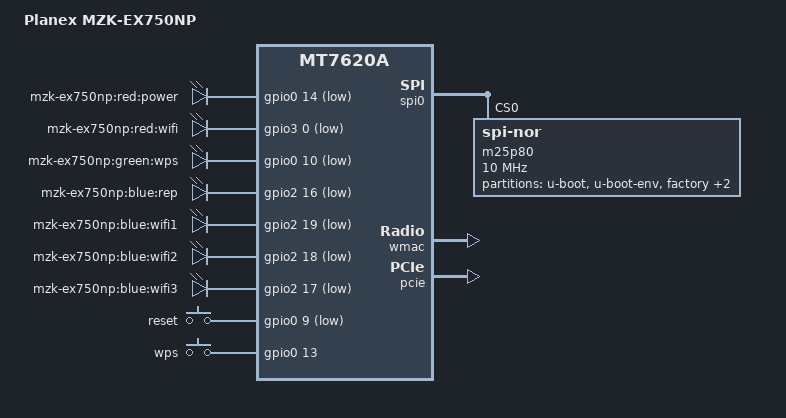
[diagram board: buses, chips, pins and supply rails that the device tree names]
/dts-v1/;

#include "mt7620a.dtsi"

#include <dt-bindings/gpio/gpio.h>
#include <dt-bindings/input/input.h>

/ {
	compatible = "planex,mzk-ex750np", "ralink,mt7620a-soc";
	model = "Planex MZK-EX750NP";

	aliases {
		led-boot = &led_power;
		led-failsafe = &led_power;
		led-running = &led_power;
		led-upgrade = &led_power;
	};

	leds {
		compatible = "gpio-leds";

		led_power: power {
			label = "mzk-ex750np:red:power";
			gpios = <&gpio0 14 GPIO_ACTIVE_LOW>;
		};

		wifi {
			label = "mzk-ex750np:red:wifi";
			gpios = <&gpio3 0 GPIO_ACTIVE_LOW>;
		};

		wps {
			label = "mzk-ex750np:green:wps";
			gpios = <&gpio0 10 GPIO_ACTIVE_LOW>;
		};

		rep {
			label = "mzk-ex750np:blue:rep";
			gpios = <&gpio2 16 GPIO_ACTIVE_LOW>;
		};

		wifi1 {
			label = "mzk-ex750np:blue:wifi1";
			gpios = <&gpio2 19 GPIO_ACTIVE_LOW>;
		};

		wifi2 {
			label = "mzk-ex750np:blue:wifi2";
			gpios = <&gpio2 18 GPIO_ACTIVE_LOW>;
		};

		wifi3 {
			label = "mzk-ex750np:blue:wifi3";
			gpios = <&gpio2 17 GPIO_ACTIVE_LOW>;
		};
	};

	keys {
		compatible = "gpio-keys";

		reset {
			label = "reset";
			gpios = <&gpio0 9 GPIO_ACTIVE_LOW>;
			linux,code = <KEY_RESTART>;
		};

		wps {
			label = "wps";
			gpios = <&gpio0 13 GPIO_ACTIVE_HIGH>;
			linux,code = <KEY_RFKILL>;
		};
	};
};

&gpio2 {
	status = "okay";
};

&gpio3 {
	status = "okay";
};

&spi0 {
	status = "okay";

	m25p80@0 {
		compatible = "jedec,spi-nor";
		reg = <0>;
		spi-max-frequency = <10000000>;

		partitions {
			compatible = "fixed-partitions";
			#address-cells = <1>;
			#size-cells = <1>;

			partition@0 {
				label = "u-boot";
				reg = <0x0 0x30000>;
				read-only;
			};

			partition@30000 {
				label = "u-boot-env";
				reg = <0x30000 0x10000>;
				read-only;
			};

			factory: partition@40000 {
				label = "factory";
				reg = <0x40000 0x10000>;
				read-only;
			};

			partition@50000 {
				compatible = "denx,uimage";
				label = "firmware";
				reg = <0x50000 0x730000>;
			};

			partition@780000 {
				label = "Udata";
				reg = <0x780000 0x80000>;
			};
		};
	};
};

&pinctrl {
	state_default: pinctrl0 {
		gpio {
			ralink,group = "uartf", "nd_sd", "rgmii2", "wled";
			ralink,function = "gpio";
		};
	};
};

&ethernet {
	pinctrl-names = "default";
	pinctrl-0 = <&ephy_pins>;
	mtd-mac-address = <&factory 0x4>;
	mediatek,portmap = "llllw";
};

&wmac {
	ralink,mtd-eeprom = <&factory 0>;
};

&pcie {
	status = "okay";
};

&pcie0 {
	mt76@0,0 {
		reg = <0x0000 0 0 0 0>;
		mediatek,mtd-eeprom = <&factory 0x8000>;
	};
};
